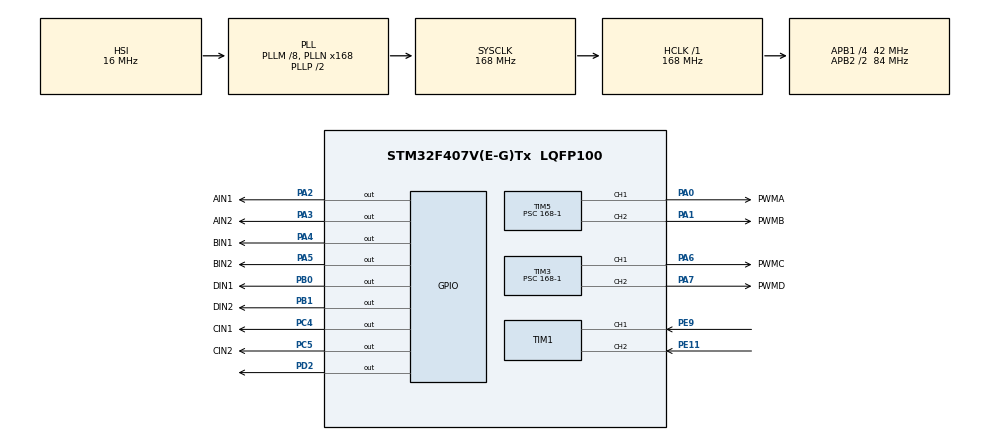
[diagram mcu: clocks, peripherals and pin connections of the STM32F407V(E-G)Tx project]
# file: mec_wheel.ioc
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Mcu.Family=STM32F4
Mcu.Name=STM32F407V(E-G)Tx
Mcu.Package=LQFP100
NVIC.PriorityGroup=NVIC_PRIORITYGROUP_4
NVIC.TIM6_DAC_IRQn=true\:7\:0\:true\:false\:true\:true\:true\:true
PA0-WKUP.GPIO_Label=PWMA
PA0-WKUP.Signal=S_TIM5_CH1
PA1.GPIO_Label=PWMB
PA1.Signal=S_TIM5_CH2
PA13.Mode=Serial_Wire
PA13.Signal=SYS_JTMS-SWDIO
PA14.Mode=Serial_Wire
PA14.Signal=SYS_JTCK-SWCLK
PA2.GPIO_Label=AIN1
PA2.Signal=GPIO_Output
PA3.GPIO_Label=AIN2
PA3.Signal=GPIO_Output
PA4.GPIO_Label=BIN1
PA4.Signal=GPIO_Output
PA5.GPIO_Label=BIN2
PA5.Signal=GPIO_Output
PA6.GPIO_Label=PWMC
PA6.Signal=S_TIM3_CH1
PA7.GPIO_Label=PWMD
PA7.Signal=S_TIM3_CH2
PB0.GPIO_Label=DIN1
PB0.Signal=GPIO_Output
PB1.GPIO_Label=DIN2
PB1.Signal=GPIO_Output
PC4.GPIO_Label=CIN1
PC4.Signal=GPIO_Output
PC5.GPIO_Label=CIN2
PC5.Signal=GPIO_Output
PD2.GPIO_PuPd=GPIO_PULLUP
PD2.Signal=GPIO_Output
PE11.Signal=S_TIM1_CH2
PE9.Signal=S_TIM1_CH1
PH0-OSC_IN.Mode=HSE-External-Oscillator
PH0-OSC_IN.Signal=RCC_OSC_IN
PH1-OSC_OUT.Mode=HSE-External-Oscillator
PH1-OSC_OUT.Signal=RCC_OSC_OUT
ProjectManager.HeapSize=0x200
ProjectManager.StackSize=0x400
ProjectManager.TargetToolchain=CMake
RCC.48MHZClocksFreq_Value=84000000
RCC.AHBFreq_Value=168000000
RCC.APB1CLKDivider=RCC_HCLK_DIV4
RCC.APB1Freq_Value=42000000
RCC.APB1TimFreq_Value=84000000
RCC.APB2CLKDivider=RCC_HCLK_DIV2
RCC.APB2Freq_Value=84000000
RCC.APB2TimFreq_Value=168000000
RCC.CortexFreq_Value=168000000
RCC.HCLKFreq_Value=168000000
RCC.HSE_VALUE=25000000
RCC.HSI_VALUE=16000000
RCC.LSE_VALUE=32768
RCC.PLLM=8
RCC.PLLN=168
RCC.SYSCLKFreq_VALUE=168000000
RCC.SYSCLKSource=RCC_SYSCLKSOURCE_PLLCLK
RCC.VCOOutputFreq_Value=336000000
SH.S_TIM1_CH1.0=TIM1_CH1,Encoder_Interface
SH.S_TIM1_CH2.0=TIM1_CH2,Encoder_Interface
SH.S_TIM3_CH1.0=TIM3_CH1,PWM Generation1 CH1
SH.S_TIM3_CH2.0=TIM3_CH2,PWM Generation2 CH2
SH.S_TIM5_CH1.0=TIM5_CH1,PWM Generation1 CH1
SH.S_TIM5_CH2.0=TIM5_CH2,PWM Generation2 CH2
TIM1.EncoderMode=TIM_ENCODERMODE_TI12
TIM3.Channel-PWM\ Generation1\ CH1=TIM_CHANNEL_1
TIM3.Channel-PWM\ Generation2\ CH2=TIM_CHANNEL_2
TIM3.Period=1000
TIM3.Prescaler=168-1
TIM5.Channel-PWM\ Generation1\ CH1=TIM_CHANNEL_1
TIM5.Channel-PWM\ Generation2\ CH2=TIM_CHANNEL_2
TIM5.OCFastMode_PWM-PWM\ Generation1\ CH1=TIM_OCFAST_DISABLE
TIM5.OCFastMode_PWM-PWM\ Generation2\ CH2=TIM_OCFAST_DISABLE
TIM5.Period=1000
TIM5.Prescaler=168-1
TIM6.Prescaler=84-1
VP_TIM3_VS_ClockSourceINT.Mode=Internal
VP_TIM5_VS_ClockSourceINT.Mode=Internal
VP_TIM6_VS_ClockSourceINT.Mode=Enable_Timer
board=custom

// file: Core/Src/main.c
/* USER CODE BEGIN Header */
/**
  ******************************************************************************
  * @file           : main.c
  * @brief          : Main program body
  ******************************************************************************
  * @attention
  *
  * Copyright (c) 2025 STMicroelectronics.
  * All rights reserved.
  *
  * This software is licensed under terms that can be found in the LICENSE file
  * in the root directory of this software component.
  * If no LICENSE file comes with this software, it is provided AS-IS.
  *
  ******************************************************************************
  */
/* USER CODE END Header */
#include "main.h"
#include "tim.h"
#include "gpio.h"

/* USER CODE BEGIN Includes */

#include "driver.h"
#include "control.h"

/* USER CODE END Includes */

/* USER CODE BEGIN PV */
const float ENCODER_RESOLUTION = 13.0f * 4.0f*48.f;
const float METERS_PER_PULSE = (wheel * 3.1415926535f) / ENCODER_RESOLUTION;;//单位cm
Speed_Data Speed_Data_1,Speed_Data_2,Speed_Data_3,Speed_Data_4;
/* USER CODE END PV */

void SystemClock_Config(void);

int main(void)
{

  /* MCU Configuration--------------------------------------------------------*/

  /* Reset of all peripherals, Initializes the Flash interface and the Systick. */
  HAL_Init();

  /* Configure the system clock */
  SystemClock_Config();

  /* Initialize all configured peripherals */
  MX_GPIO_Init();
  MX_TIM3_Init();
  MX_TIM5_Init();
  MX_TIM1_Init();
  MX_TIM6_Init();
  /* USER CODE BEGIN 2 */
  HAL_TIM_PWM_Start(&htim3, TIM_CHANNEL_1);
  HAL_TIM_PWM_Start(&htim3, TIM_CHANNEL_2);
  HAL_TIM_PWM_Start(&htim5, TIM_CHANNEL_1);
  HAL_TIM_PWM_Start(&htim5, TIM_CHANNEL_2);
  /* USER CODE END 2 */

  /* Infinite loop */
  /* USER CODE BEGIN WHILE */
  while (1)
  {
     for (int i = -500 ; i <= 500; i+=10) {
      SetMotor(MOTOR_A, i);
      HAL_Delay(20);
     }
    /* USER CODE END WHILE */

  }
}

void SystemClock_Config(void)
{
  RCC_OscInitTypeDef RCC_OscInitStruct = {0};
  RCC_ClkInitTypeDef RCC_ClkInitStruct = {0};

  /** Configure the main internal regulator output voltage
  */
  __HAL_RCC_PWR_CLK_ENABLE();
  __HAL_PWR_VOLTAGESCALING_CONFIG(PWR_REGULATOR_VOLTAGE_SCALE1);

  /** Initializes the RCC Oscillators according to the specified parameters
  * in the RCC_OscInitTypeDef structure.
  */
  RCC_OscInitStruct.OscillatorType = RCC_OSCILLATORTYPE_HSI;
  RCC_OscInitStruct.HSIState = RCC_HSI_ON;
  RCC_OscInitStruct.HSICalibrationValue = RCC_HSICALIBRATION_DEFAULT;
  RCC_OscInitStruct.PLL.PLLState = RCC_PLL_ON;
  RCC_OscInitStruct.PLL.PLLSource = RCC_PLLSOURCE_HSI;
  RCC_OscInitStruct.PLL.PLLM = 8;
  RCC_OscInitStruct.PLL.PLLN = 168;
  RCC_OscInitStruct.PLL.PLLP = RCC_PLLP_DIV2;
  RCC_OscInitStruct.PLL.PLLQ = 4;
  if (HAL_RCC_OscConfig(&RCC_OscInitStruct) != HAL_OK)
  {
    Error_Handler();
  }

  /** Initializes the CPU, AHB and APB buses clocks
  */
  RCC_ClkInitStruct.ClockType = RCC_CLOCKTYPE_HCLK|RCC_CLOCKTYPE_SYSCLK
                              |RCC_CLOCKTYPE_PCLK1|RCC_CLOCKTYPE_PCLK2;
  RCC_ClkInitStruct.SYSCLKSource = RCC_SYSCLKSOURCE_PLLCLK;
  RCC_ClkInitStruct.AHBCLKDivider = RCC_SYSCLK_DIV1;
  RCC_ClkInitStruct.APB1CLKDivider = RCC_HCLK_DIV4;
  RCC_ClkInitStruct.APB2CLKDivider = RCC_HCLK_DIV2;

  if (HAL_RCC_ClockConfig(&RCC_ClkInitStruct, FLASH_LATENCY_5) != HAL_OK)
  {
    Error_Handler();
  }
}

/* USER CODE BEGIN 4 */
void HAL_TIM_PeriodElapsedCallback(TIM_HandleTypeDef *htim)
{

    Speed_Data_2.current_count = TIM1->CNT;
    Speed_Data_2.delta_pulses = (Speed_Data_2.current_count - Speed_Data_2.encoder_count_prev);
    Speed_Data_2.encoder_count_prev = Speed_Data_2.current_count;
    //防止计数器超�?65535
    if(Speed_Data_2.delta_pulses>60000)Speed_Data_2.delta_pulses-=65535;
    if(Speed_Data_2.delta_pulses<-60000)Speed_Data_2.delta_pulses+=65535;
    //计算距离
    Speed_Data_2.delta_distance =  Speed_Data_2.delta_pulses* METERS_PER_PULSE;
    float dt =0.002;//
    //计算车鿿
    Speed_Data_2.speed = Speed_Data_2.delta_distance / dt;
    Speed_Data_2.distance += Speed_Data_2.delta_distance ;

  }

/* USER CODE END 4 */

void Error_Handler(void)
{
  __disable_irq();
  while (1)
  {
  }
}
